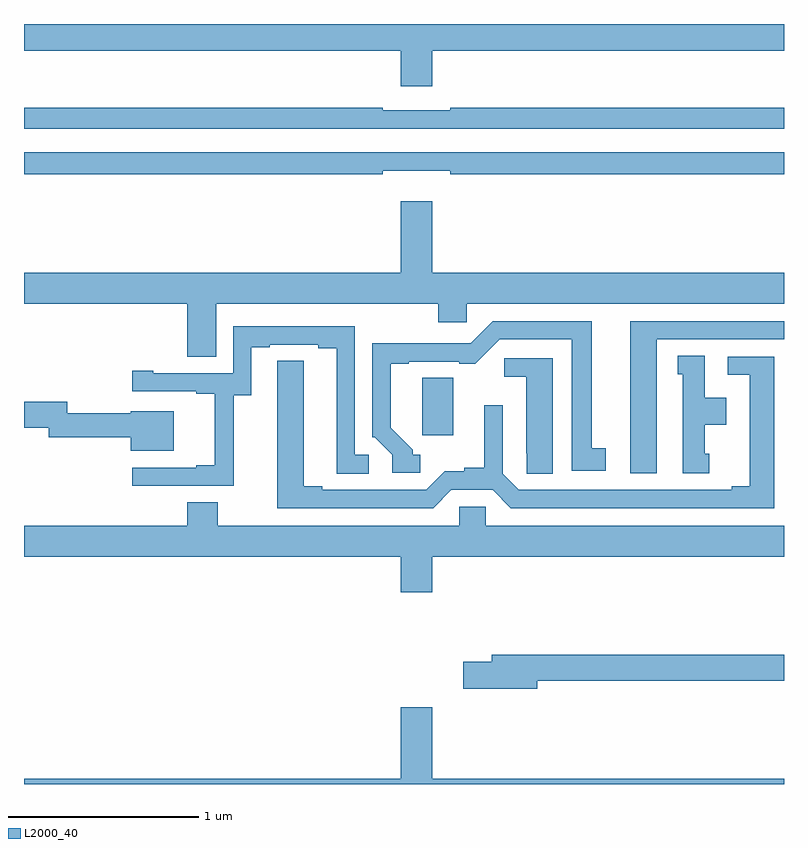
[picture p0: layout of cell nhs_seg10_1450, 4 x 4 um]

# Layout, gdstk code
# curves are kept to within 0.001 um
import gdstk
lib = gdstk.Library(unit=1e-6, precision=1e-09)
def P(c, l, *ps):  # polygons
    for p in ps: c.add(gdstk.Polygon(p, *l))
L2000_40 = (2000, 40)

nhs_seg10_1450 = lib.new_cell('nhs_seg10_1450')
P(nhs_seg10_1450, L2000_40, [(189.148,1256.36),(191,1256.36),(191,1256.5),(187,1256.5),(187,1256.36),(188.984,1256.36),(188.984,1256.172),(189.148,1256.172)],
  [(191,1256.059),(189.244,1256.059),(189.244,1256.046),(188.888,1256.046),(188.888,1256.059),(187,1256.059),(187,1255.95),(191,1255.95)],
  [(188.888,1255.727),(189.244,1255.727),(189.244,1255.708),(191,1255.708),(191,1255.824),(187,1255.824),(187,1255.708),(188.888,1255.708)],
  [(188.011,1255.028),(189.179,1255.028),(189.179,1254.93),(189.33,1254.93),(189.33,1255.028),(191,1255.028),(191,1255.192),(189.148,1255.192),(189.148,1255.567),(188.984,1255.567),(188.984,1255.192),(187,1255.192),(187,1255.028),(187.859,1255.028),(187.859,1254.748),(188.011,1254.748)],
  [(189.085,1254.234),(189.046,1254.234),(189.046,1254.258),(188.929,1254.374),(188.929,1254.711),(189.025,1254.711),(189.025,1254.723),(189.29,1254.723),(189.29,1254.712),(189.376,1254.712),(189.504,1254.84),(189.884,1254.84),(189.884,1254.15),(190.063,1254.15),(190.063,1254.266),(189.988,1254.266),(189.988,1254.936),(189.468,1254.936),(189.351,1254.819),(189.095,1254.819),(189.095,1254.821),(188.832,1254.821),(188.832,1254.324),(188.847,1254.324),(188.937,1254.234),(188.937,1254.138),(189.085,1254.138)],
  [(190.33,1254.84),(191,1254.84),(191,1254.936),(190.19,1254.936),(190.19,1254.135),(190.33,1254.135)],
  [(188.103,1254.547),(188.197,1254.547),(188.197,1254.798),(188.293,1254.798),(188.293,1254.813),(188.549,1254.813),(188.549,1254.793),(188.645,1254.793),(188.645,1254.133),(188.815,1254.133),(188.815,1254.234),(188.742,1254.234),(188.742,1254.909),(188.1,1254.909),(188.1,1254.663),(187.681,1254.663),(187.681,1254.676),(187.569,1254.676),(187.569,1254.567),(187.907,1254.567),(187.907,1254.555),(188.003,1254.555),(188.003,1254.178),(187.907,1254.178),(187.907,1254.165),(187.569,1254.165),(187.569,1254.069),(188.103,1254.069)],
  [(190.606,1254.237),(190.582,1254.237),(190.582,1254.392),(190.696,1254.392),(190.696,1254.532),(190.582,1254.532),(190.582,1254.755),(190.442,1254.755),(190.442,1254.657),(190.466,1254.657),(190.466,1254.135),(190.606,1254.135)],
  [(189.249,1254.048),(189.467,1254.048),(189.563,1253.952),(190.948,1253.952),(190.948,1254.75),(190.704,1254.75),(190.704,1254.654),(190.82,1254.654),(190.82,1254.068),(190.724,1254.068),(190.724,1254.048),(189.603,1254.048),(189.519,1254.132),(189.519,1254.493),(189.422,1254.493),(189.422,1254.164),(189.318,1254.164),(189.318,1254.146),(189.215,1254.146),(189.117,1254.048),(188.569,1254.048),(188.569,1254.068),(188.473,1254.068),(188.473,1254.728),(188.334,1254.728),(188.333,1253.952),(189.153,1253.952)],
  [(189.784,1254.741),(189.528,1254.741),(189.528,1254.644),(189.644,1254.644),(189.644,1254.241),(189.645,1254.241),(189.645,1254.133),(189.784,1254.133)],
  [(189.259,1254.48),(189.258,1254.48),(189.258,1254.638),(189.095,1254.638),(189.095,1254.336),(189.259,1254.336)],
  [(187.789,1254.463),(187.562,1254.463),(187.562,1254.452),(187.227,1254.452),(187.227,1254.512),(187,1254.512),(187,1254.376),(187.131,1254.376),(187.131,1254.324),(187.562,1254.324),(187.562,1254.254),(187.789,1254.254)],
  [(189.148,1253.696),(191,1253.696),(191,1253.86),(189.429,1253.86),(189.429,1253.958),(189.291,1253.958),(189.291,1253.86),(188.019,1253.86),(188.019,1253.984),(187.859,1253.984),(187.859,1253.86),(187,1253.86),(187,1253.696),(188.984,1253.696),(188.984,1253.508),(189.148,1253.508)],
  [(189.7,1253.044),(191,1253.044),(191,1253.18),(189.461,1253.18),(189.461,1253.144),(189.312,1253.144),(189.312,1253.002),(189.7,1253.002)],
  [(191,1252.528),(189.148,1252.528),(189.148,1252.903),(188.984,1252.903),(188.984,1252.528),(187,1252.528),(187,1252.5),(191,1252.5)])

lib.write_gds('nhs_seg10_1450.gds')
